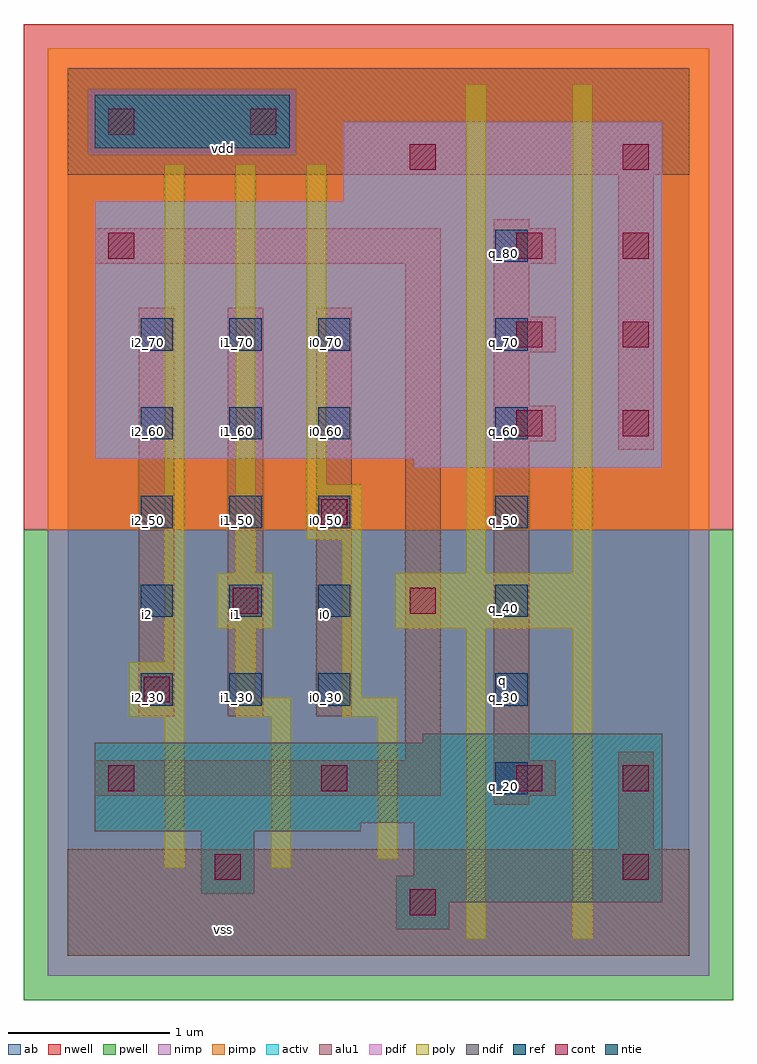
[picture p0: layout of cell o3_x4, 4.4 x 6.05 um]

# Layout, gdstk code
import gdstk
lib = gdstk.Library(unit=1e-6, precision=2.5e-09)
def R(c, l, rs):  # rectangles x0, y0, x1, y1
    for r in rs: c.add(gdstk.rectangle(r[:2], r[2:], *l))
def A(c, l, x, y, w, h, nx, ny, dx, dy):  # array of equal rectangles
    R(c, l, [(x+i*dx, y+j*dy, x+i*dx+w, y+j*dy+h) for i in range(nx) for j in range(ny)])
ndif = (3, 0)
pdif = (4, 0)
ntie = (5, 0)
ref = (24, 0)
cont = (25, 0)
pwell = (41, 0)
nwell = (42, 0)
activ = (43, 0)
pimp = (44, 0)
nimp = (45, 0)
poly = (46, 0)
alu1 = (49, 0)
ab = (63, 0)

o3_x4 = lib.new_cell('o3_x4')
R(o3_x4, ndif, [(2.035,0.165,2.365,0.33), (2.035,0.33,3.685,0.495), (0.825,0.385,1.155,0.77), (2.145,0.495,3.685,0.825), (0.165,0.77,1.815,0.825), (0.165,0.825,3.685,1.32), (2.2,1.32,3.685,1.375)])
R(o3_x4, pdif, [(2.145,3.025,3.685,3.08), (0.165,3.08,3.685,4.675), (1.705,4.675,3.685,5.17)])
R(o3_x4, ntie, [(0.165,5.005,1.375,5.335)])
A(o3_x4, ref, 2.65, 1, 0.2, 0.2, 1, 7, 0, 0.55)
A(o3_x4, ref, 0.45, 1.55, 0.2, 0.2, 3, 5, 0.55, 0.55)
A(o3_x4, cont, 2.78, 3.22, 0.16, 0.16, 1, 3, 0, 0.55)
A(o3_x4, cont, 3.44, 3.22, 0.16, 0.16, 1, 4, 0, 0.55)
R(o3_x4, cont, [(2.12,0.25,2.28,0.41), (0.91,0.47,1.07,0.63), (3.44,0.47,3.6,0.63), (0.25,1.02,0.41,1.18), (1.57,1.02,1.73,1.18), (2.78,1.02,2.94,1.18), (3.44,1.02,3.6,1.18), (0.47,1.57,0.63,1.73), (1.02,2.12,1.18,2.28), (2.12,2.12,2.28,2.28), (1.57,2.67,1.73,2.83), (0.25,4.32,0.41,4.48), (2.12,4.87,2.28,5.03), (0.25,5.09,0.41,5.25), (1.13,5.09,1.29,5.25)])
R(o3_x4, pwell, [(-0.275,-0.275,4.125,2.64)])
R(o3_x4, nwell, [(-0.275,2.64,4.125,5.775)])
R(o3_x4, activ, [(2.035,0.165,2.365,0.33), (2.035,0.33,3.685,0.495), (0.825,0.385,1.155,0.77), (2.145,0.495,3.685,0.825), (0.165,0.77,1.815,0.825), (0.165,0.825,3.685,1.32), (2.2,1.32,3.685,1.375), (2.145,3.025,3.685,3.08), (0.165,3.08,3.685,4.675), (1.705,4.675,3.685,5.17), (0.165,5.005,1.375,5.335)])
R(o3_x4, pimp, [(-0.125,2.64,3.975,4.965), (-0.125,4.965,0.125,5.375), (1.415,4.965,3.975,5.375), (-0.125,5.375,3.975,5.625)])
R(o3_x4, nimp, [(-0.125,-0.125,3.975,2.64), (0.125,4.965,1.415,5.375)])
R(o3_x4, poly, [(2.47,0.105,2.59,2.03), (3.13,0.105,3.25,2.03), (0.6,0.545,0.72,1.48), (1.26,0.545,1.38,1.48), (1.92,0.6,2.04,1.48), (0.38,1.48,0.72,1.82), (1.04,1.48,1.38,1.6), (1.7,1.48,2.04,1.6), (1.04,1.6,1.16,2.03), (1.7,1.6,1.82,2.58), (0.6,1.82,0.72,4.9), (0.93,2.03,1.27,2.37), (2.03,2.03,3.25,2.37), (1.04,2.37,1.16,4.9), (2.47,2.37,2.59,5.395), (3.13,2.37,3.25,5.395), (1.48,2.58,1.82,2.92), (1.48,2.92,1.6,4.9)])
A(o3_x4, alu1, 0.44, 1.485, 0.22, 2.53, 3, 1, 0.55, 0)
A(o3_x4, alu1, 2.64, 3.19, 0.385, 0.22, 1, 3, 0, 0.55)
R(o3_x4, alu1, [(0,0,3.85,0.66), (3.41,0.66,3.63,1.265), (2.64,0.935,2.86,0.99), (0.165,0.99,2.31,1.21), (2.64,0.99,3.025,1.21), (2.09,1.21,2.31,4.29), (2.64,1.21,2.86,3.19), (3.41,3.135,3.63,4.84), (2.64,3.41,2.86,3.74), (2.64,3.96,2.86,4.29), (0.165,4.29,2.31,4.51), (2.64,4.51,2.86,4.565), (0,4.84,3.85,5.5)])
R(o3_x4, ab, [(0,0,3.85,5.5)])
o3_x4.add(gdstk.Label('vss', (0.9625,0.165), layer=49, texttype=0))
o3_x4.add(gdstk.Label('q', (2.695,1.705), layer=49, texttype=0))
o3_x4.add(gdstk.Label('i0', (1.595,2.1175), layer=49, texttype=0))
o3_x4.add(gdstk.Label('i1', (1.045,2.1175), layer=49, texttype=0))
o3_x4.add(gdstk.Label('i2', (0.495,2.1175), layer=49, texttype=0))
o3_x4.add(gdstk.Label('vdd', (0.9625,5.005), layer=49, texttype=0))
o3_x4.add(gdstk.Label('q_20', (2.7,1.05), layer=24, texttype=0))
o3_x4.add(gdstk.Label('q_30', (2.7,1.6), layer=24, texttype=0))
o3_x4.add(gdstk.Label('q_40', (2.7,2.15), layer=24, texttype=0))
o3_x4.add(gdstk.Label('q_50', (2.7,2.7), layer=24, texttype=0))
o3_x4.add(gdstk.Label('q_60', (2.7,3.25), layer=24, texttype=0))
o3_x4.add(gdstk.Label('q_70', (2.7,3.8), layer=24, texttype=0))
o3_x4.add(gdstk.Label('q_80', (2.7,4.35), layer=24, texttype=0))
o3_x4.add(gdstk.Label('i0_70', (1.6,3.8), layer=24, texttype=0))
o3_x4.add(gdstk.Label('i0_60', (1.6,3.25), layer=24, texttype=0))
o3_x4.add(gdstk.Label('i0_50', (1.6,2.7), layer=24, texttype=0))
o3_x4.add(gdstk.Label('i0_40', (1.6,2.15), layer=24, texttype=0))
o3_x4.add(gdstk.Label('i0_30', (1.6,1.6), layer=24, texttype=0))
o3_x4.add(gdstk.Label('i1_30', (1.05,1.6), layer=24, texttype=0))
o3_x4.add(gdstk.Label('i1_40', (1.05,2.15), layer=24, texttype=0))
o3_x4.add(gdstk.Label('i1_50', (1.05,2.7), layer=24, texttype=0))
o3_x4.add(gdstk.Label('i1_60', (1.05,3.25), layer=24, texttype=0))
o3_x4.add(gdstk.Label('i1_70', (1.05,3.8), layer=24, texttype=0))
o3_x4.add(gdstk.Label('i2_50', (0.5,2.7), layer=24, texttype=0))
o3_x4.add(gdstk.Label('i2_40', (0.5,2.15), layer=24, texttype=0))
o3_x4.add(gdstk.Label('i2_30', (0.5,1.6), layer=24, texttype=0))
o3_x4.add(gdstk.Label('i2_70', (0.5,3.8), layer=24, texttype=0))
o3_x4.add(gdstk.Label('i2_60', (0.5,3.25), layer=24, texttype=0))

lib.write_gds('o3_x4.gds')
